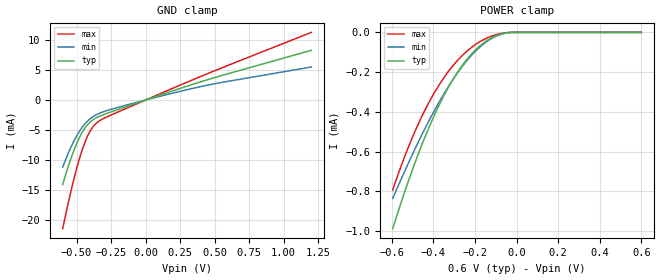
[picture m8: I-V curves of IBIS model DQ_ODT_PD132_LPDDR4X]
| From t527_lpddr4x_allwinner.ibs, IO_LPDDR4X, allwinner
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|   Model DQ_ODT_PD132_LPDDR4X
[Model] DQ_ODT_PD132_LPDDR4X
Model_type Input
Polarity   Non-Inverting
Enable   Active-High
Vinl =  0.300V
Vinh =  0.300V
C_comp   1.629pF   1.589pF   1.678pF
C_comp_power_clamp   56.576fF   56.568fF   56.600fF
C_comp_gnd_clamp   0.841pF   0.818pF   0.866pF
[Model Spec]
Vinh   0.300V   0.285V   0.325V
Vinl   0.300V   0.285V   0.325V
[Temperature Range]   25.000   0.125k   -40.000
[Voltage Range]   0.600V   0.570V   0.650V
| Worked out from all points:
|   GND clamp passes 1 mA (typ) near -0.13 V on its own axis
[GND_clamp]
|Voltage   I(typ)   I(min)   I(max)
-600mV    -14.08mA   -11.18mA   -21.44mA
-535mV    -9.393mA   -7.592mA   -14.69mA
-496mV    -7.102mA   -5.86mA    -11.16mA
-470mV    -5.848mA   -4.9mA     -9.104mA
-444mV    -4.835mA   -4.103mA   -7.338mA
-418mV    -4.059mA   -3.463mA   -5.906mA
-392mV    -3.493mA   -2.962mA   -4.827mA
-353mV    -2.921mA   -2.418mA   -3.795mA
-301mV    -2.405mA   -1.926mA   -3.047mA
-171mV    -1.35mA    -1.048mA   -1.712mA
362mV     2.759mA    2.043mA    3.567mA
1.2V      8.275mA    5.499mA    11.26mA
[POWER_clamp]
|Voltage   I(typ)   I(min)   I(max)
-596mV    -987.9uA   -835.5uA   -793.7uA
-544mV    -820.3uA   -712.3uA   -640.5uA
-492mV    -665.3uA   -593.9uA   -505.8uA
-440mV    -524.6uA   -482.3uA   -389.3uA
-375mV    -370.8uA   -354.9uA   -268.1uA
-323mV    -266.7uA   -264uA     -189.6uA
-271mV    -180.1uA   -184.6uA   -126.4uA
-219mV    -111.1uA   -117.9uA   -77.27uA
-167mV    -59.51uA   -65.31uA   -41.13uA
-102mV    -18.25uA   -20.82uA   -12.56uA
-37mV     -834.5nA   -985.2nA   -574.3nA
600mV     0A         0A         0A
